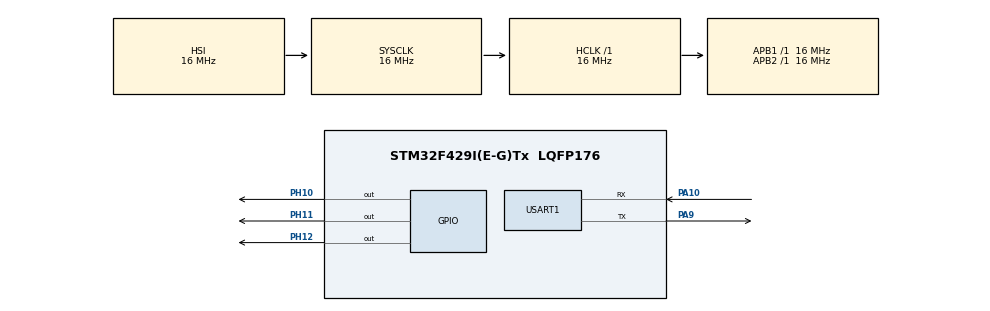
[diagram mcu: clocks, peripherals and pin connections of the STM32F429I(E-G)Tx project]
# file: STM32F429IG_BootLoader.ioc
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Mcu.Family=STM32F4
Mcu.Name=STM32F429I(E-G)Tx
Mcu.Package=LQFP176
NVIC.PriorityGroup=NVIC_PRIORITYGROUP_4
PA10.Mode=Asynchronous
PA10.Signal=USART1_RX
PA13.Mode=Serial_Wire
PA13.Signal=SYS_JTMS-SWDIO
PA14.Mode=Serial_Wire
PA14.Signal=SYS_JTCK-SWCLK
PA9.Mode=Asynchronous
PA9.Signal=USART1_TX
PH0/OSC_IN.Mode=HSE-External-Oscillator
PH0/OSC_IN.Signal=RCC_OSC_IN
PH1/OSC_OUT.Mode=HSE-External-Oscillator
PH1/OSC_OUT.Signal=RCC_OSC_OUT
PH10.Signal=GPIO_Output
PH11.Signal=GPIO_Output
PH12.Signal=GPIO_Output
ProjectManager.HeapSize=0x200
ProjectManager.StackSize=0x400
ProjectManager.TargetToolchain=Makefile
RCC.AHBFreq_Value=16000000
RCC.APB1Freq_Value=16000000
RCC.APB2Freq_Value=16000000
RCC.CortexFreq_Value=16000000
RCC.HSE_VALUE=25000000
RCC.HSI_VALUE=16000000
RCC.LSE_VALUE=32768
RCC.SYSCLKFreq_VALUE=16000000
RCC.VCOOutputFreq_Value=192000000
USART1.VirtualMode=VM_ASYNC
board=custom

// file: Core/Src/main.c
/* USER CODE BEGIN Header */
/**
  ******************************************************************************
  * @file           : main.c
  * @brief          : Main program body
  ******************************************************************************
  * @attention
  *
  * <h2><center>&copy; Copyright (c) 2021 STMicroelectronics.
  * All rights reserved.</center></h2>
  *
  * This software component is licensed by ST under BSD 3-Clause license,
  * the "License"; You may not use this file except in compliance with the
  * License. You may obtain a copy of the License at:
  *                        opensource.org/licenses/BSD-3-Clause
  *
  ******************************************************************************
  */
/* USER CODE END Header */
#include "main.h"
#include "usart.h"
#include "gpio.h"
#include "stdio.h"
#include "string.h"

/* USER CODE BEGIN PV */

#define BYTE2WORD(highByte, lowByte) ((highByte<<8) | lowByte)
#define BYTE2DWORD(highByte, mhighByte, mlowByte, lowByte) \
        (highByte << 24) | (mhighByte << 16) | (mlowByte << 8) | (lowByte)

#define APP_START_ADDR 0x08008000

/* USER CODE END PV */

void SystemClock_Config(void);

/* USER CODE BEGIN PFP */
#define UPDATE_CMD "you need update"
#define UPDATE_CONFIRM "Oh,really?"
#define UPDATE_CHECKOUT "Oh,yes"
#define UPDATE_FINAL_CONFIRM "OK,come on"
#define RX_BUFF_SZ 255

uint8_t * updata_protocol = {
  UPDATE_CMD,
  UPDATE_CONFIRM,
  UPDATE_CHECKOUT,
  UPDATE_FINAL_CONFIRM
};
#define PROTOCOL_ITEM_NUM 4
#define FRAME_HEAD 0xA5
#define FRAME_TAIL 0xAA
#define FRAME_HEAD_LEN 1
#define FRAME_TAIL_LEN 1
#define FRAME_TAIL_LEN 1
#define FRAME_TAIL_LEN 1
#define FRAME_DATA_LEN 1
#define FRAME_ID_0  0x00 //frame info
#define FRAME_ID_1  0x01 //kerenl ID
#define FRAME_ID_2 0x02 //total data len
#define FRAME_ID_3 0x03 //
#define FRAME_ID_LEN 0x01
/*
frame info:
  frame head | frame info | frame pure data len | data | frame tail
  0xa5       | FRAME_ID   |     0~0xff          |  xxx |    0xaa
first frame:
total data len | frame len

frist frame includes total data length
second frame includes pure data len in one frame
*/
/* USER CODE END PFP */

/* USER CODE BEGIN 0 */

HAL_StatusTypeDef flash_program(int startAddr, uint8_t * data, int dataSize);
HAL_StatusTypeDef flash_erase(int eraseStartAddr, int areaSize);
HAL_StatusTypeDef flash_lock();
HAL_StatusTypeDef flass_unlock();

HAL_StatusTypeDef flash_program(int startAddr, unsigned char* data, int dataSize)
{
  int start_addr = startAddr;
  int end_addr = start_addr + dataSize;
  int current_addr = start_addr;
  int i = 0;
  while (current_addr < end_addr){

    HAL_FLASH_Program(FLASH_TYPEPROGRAM_BYTE, current_addr, data[i]);
    current_addr++;
    i++;

  }

  return HAL_OK;

}
typedef struct{
  uint8_t frameHead;
  uint8_t frameID;
  uint8_t dataLen;
  uint8_t * dataHead;

} FRAME_INFO_ST, *FRAME_INFO_ST_P;

FRAME_INFO_ST frameInfo;

typedef enum UPDATE_STA{
  UPDATE_PRE,
  UPDATING,
  UPDATE_OK,
  UPDATE_FAIL
} E_UPDATE_STA;
enum FRAME_PARSE_RET{
  FRAME_OK,
  FRAME_TL,
  FRAME_KRNL,
  FRAME_DL_ERR,
  FRAME_HT_ERR,
  FRAME_OTHER_ERR

};
uint32_t totalDataLen;
uint8_t pureDataLen;
E_UPDATE_STA updateStatus;
static int frame_parse(uint8_t * buff, FRAME_INFO_ST_P frame_info)
{
  uint8_t * p = buff;
  uint8_t dataLen = p[2];
  if (dataLen < 0 || dataLen > 255)
  {
    /* code */
    return -1;
  }

  if (p[0] != FRAME_HEAD || p[dataLen] != FRAME_TAIL){
    return -2;
  }

  if (p[1] == FRAME_ID_0)
  {
    /* code */
    frame_info->frameID = FRAME_ID_0;
    frame_info->dataHead = &p[3];
    frame_info->dataLen = p[2];
    return FRAME_OK;
  }
  else if (p[1] == FRAME_ID_1)
  {
    /* code */
    frame_info->frameID = FRAME_ID_1;
    frame_info->dataHead = &p[3];
    frame_info->dataLen = p[2];
    return FRAME_KRNL;
  }
  else if (p[1] == FRAME_ID_2)
  {
    /* code */
    frame_info->frameID = FRAME_ID_2;
    frame_info->dataHead = &p[3];
    frame_info->dataLen = p[2];

    return FRAME_TL;
  }
  else
  {
    frame_info->frameID = 0xff;
    frame_info->dataHead = 0xff;
    frame_info->dataLen = 0xff;
    return FRAME_OTHER_ERR;
  }

}

#define SECTOR_0_FLASH_START_ADDR 0X08000000
#define SECTOR_1_FLASH_START_ADDR 0x08004000
#define SECTOR_2_FLASH_START_ADDR 0X08008000
#define SECTOR_3_FLASH_START_ADDR 0x0800C000
#define SECTOR_4_FLASH_START_ADDR 0X08010000
#define SECTOR_5_FLASH_START_ADDR 0x08020000
#define SECTOR_6_FLASH_START_ADDR 0X08040000
#define SECTOR_7_FLASH_START_ADDR 0x08060000
#define SECTOR_8_FLASH_START_ADDR 0X08080000
#define SECTOR_9_FLASH_START_ADDR 0x080A0000
#define SECTOR_10_FLASH_START_ADDR 0X080C0000
#define SECTOR_11_FLASH_START_ADDR 0x080E0000

static int start_sector(int eraseStartAddr)
{
  if (eraseStartAddr >= SECTOR_0_FLASH_START_ADDR && eraseStartAddr < SECTOR_1_FLASH_START_ADDR){
    return FLASH_SECTOR_0;
  }
  else if (eraseStartAddr >= SECTOR_1_FLASH_START_ADDR && eraseStartAddr < SECTOR_2_FLASH_START_ADDR) {
    return FLASH_SECTOR_1;
  }
  else if (eraseStartAddr >= SECTOR_2_FLASH_START_ADDR && eraseStartAddr < SECTOR_3_FLASH_START_ADDR) {
    return FLASH_SECTOR_2;
  }
  else if (eraseStartAddr >= SECTOR_3_FLASH_START_ADDR && eraseStartAddr < SECTOR_4_FLASH_START_ADDR) {
    return FLASH_SECTOR_3;
  }
  else if (eraseStartAddr >= SECTOR_4_FLASH_START_ADDR && eraseStartAddr < SECTOR_5_FLASH_START_ADDR) {
    return FLASH_SECTOR_4;
  }
  else if (eraseStartAddr >= SECTOR_5_FLASH_START_ADDR && eraseStartAddr < SECTOR_6_FLASH_START_ADDR) {
    return FLASH_SECTOR_5;
  }
  else if (eraseStartAddr >= SECTOR_6_FLASH_START_ADDR && eraseStartAddr < SECTOR_7_FLASH_START_ADDR) {
    return FLASH_SECTOR_6;
  }
  else if (eraseStartAddr >= SECTOR_7_FLASH_START_ADDR && eraseStartAddr < SECTOR_8_FLASH_START_ADDR) {
    return FLASH_SECTOR_7;
  }
  else if (eraseStartAddr >= SECTOR_8_FLASH_START_ADDR && eraseStartAddr < SECTOR_9_FLASH_START_ADDR) {
    return FLASH_SECTOR_8;
  }
  else if (eraseStartAddr >= SECTOR_9_FLASH_START_ADDR && eraseStartAddr < SECTOR_10_FLASH_START_ADDR) {
    return FLASH_SECTOR_9;
  }
  else if (eraseStartAddr >= SECTOR_10_FLASH_START_ADDR && eraseStartAddr < SECTOR_11_FLASH_START_ADDR) {
    return FLASH_SECTOR_10;
  }
  else if (eraseStartAddr >= SECTOR_11_FLASH_START_ADDR && eraseStartAddr < SECTOR_11_FLASH_START_ADDR+ 0x20000 ) {
    return FLASH_SECTOR_11;
  }
  else{
    return 0xff;//addr error
  }

}
static int end_sector(int eraseStartAddr, int areaSize)
{
  return start_sector(eraseStartAddr + areaSize-1);
}

HAL_StatusTypeDef flash_erase(int eraseStartAddr, int areaSize)
{
  uint32_t SectorError = 0;
  FLASH_EraseInitTypeDef EraseInit;
  EraseInit.TypeErase = FLASH_TYPEERASE_SECTORS;
  EraseInit.Sector = start_sector(eraseStartAddr);
  EraseInit.NbSectors = end_sector(eraseStartAddr, areaSize) - EraseInit.Sector + 1;
  EraseInit.VoltageRange = FLASH_VOLTAGE_RANGE_3;

  return HAL_FLASHEx_Erase(&EraseInit, &SectorError);

}

HAL_StatusTypeDef flash_lock()
{
  return HAL_FLASH_Lock();
}

HAL_StatusTypeDef flash_unlock()
{
  return HAL_FLASH_Unlock();
}

typedef void(* pFunc)(void);
pFunc jumpToKernel;

void jump_to_kernel(uint32_t app_addr)
{
  //
  jumpToKernel = *(uint32_t *)(app_addr + 4);
  jumpToKernel();

}

void err_handle(void){
  HAL_UART_Transmit(&huart1, (uint8_t *)"handshake fail", 14, 1000);
  //jump to kerl
  jump_to_kernel(APP_START_ADDR);
}
/* USER CODE END 0 */

int main(void)
{

  /* MCU Configuration--------------------------------------------------------*/

  /* Reset of all peripherals, Initializes the Flash interface and the Systick. */
  HAL_Init();

  /* Configure the system clock */
  SystemClock_Config();

  /* Initialize all configured peripherals */
  MX_GPIO_Init();
  MX_USART1_UART_Init();
  /* USER CODE BEGIN 2 */
  HAL_GPIO_WritePin(GPIOH, GPIO_PIN_11, GPIO_PIN_SET);
  HAL_GPIO_WritePin(GPIOH, GPIO_PIN_12, GPIO_PIN_SET);

  /* USER CODE END 2 */

  /* Infinite loop */
  /* USER CODE BEGIN WHILE */
  uint8_t * pData = NULL;
  #define BUFF_SZ (RX_BUFF_SZ + FRAME_HEAD_LEN + FRAME_ID_LEN + FRAME_DATA_LEN + FRAME_TAIL_LEN)
  while (1)
  {
    /* USER CODE END WHILE */

    /* USER CODE BEGIN 3 */
    uint8_t rx_buff[BUFF_SZ];
    u_int8_t frame_sz = 0;

    HAL_GPIO_TogglePin(GPIOH, GPIO_PIN_10);
    HAL_Delay(1000);
    HAL_UART_Transmit(&huart1, (uint8_t *)"hello world!", 12, 1000);

    //handshake
    for (int8_t i = 0; i < PROTOCOL_ITEM_NUM/2; i++)
    {
      /* code */
      HAL_UART_Receive(&huart1, rx_buff, 100, 5000);

      if(0 == memcmp(rx_buff, updata_protocol[2*i],strlen((const char*)updata_protocol[i])))
        HAL_UART_Transmit(&huart1, (uint8_t *)updata_protocol[2*i+1], strlen((const char*)updata_protocol[2*i+1]), 1000);
      else
        err_handle();
    }
    //get total data len
    memset(rx_buff, 0, BUFF_SZ);
    HAL_UART_Receive(&huart1, rx_buff, 20, 1000);
    if(FRAME_TL == frame_parse(rx_buff, &frameInfo))
    {
      pData = frameInfo.dataHead;
      totalDataLen = BYTE2DWORD(pData[0], pData[1], pData[2], pData[3]);

      updateStatus = UPDATE_PRE;
    }

    //get frame pure data len
    // memset(rx_buff, 0);
    // HAL_UART_Receive(&huart1, rx_buff, 20, 1000);
    // if (frame_sz > 0 && frame_sz <=256)
    // {
    //   /* code */
    //   HAL_UART_Transmit(&huart1, (uint8_t *)"copy that", 9, 1000);
    // }
    // else
    //   {
    //     HAL_UART_Transmit(&huart1, (uint8_t *)"frame size error", 16, 1000);
    //     goto ERR;
    //   }
    updateStatus = UPDATING;
    flash_unlock();
    //erase flash
    HAL_UART_Transmit(&huart1, (uint8_t *)"eraseing flash...", 17, 1000);
    flash_erase(APP_START_ADDR, totalDataLen);
    HAL_UART_Transmit(&huart1, (uint8_t *)"erase done", 10, 1000);

    //program flash after receive data
    uint32_t flash_program_addr = APP_START_ADDR;
    while (totalDataLen>0)
    {
      /* code */
      memset(rx_buff, 0, BUFF_SZ);
      HAL_UART_Receive(&huart1, rx_buff, BUFF_SZ, 5000);
      if(FRAME_KRNL ==  frame_parse(rx_buff, &frameInfo))
      {
        pData = frameInfo.dataHead;
        pureDataLen = frameInfo.dataLen;
        flash_program(flash_program_addr, pData, pureDataLen);
        flash_program_addr += pureDataLen;
        totalDataLen -= pureDataLen;
        HAL_UART_Transmit(&huart1, (uint8_t *)"next", 4, 1000);
      }

    }
    flash_lock();
    updateStatus = UPDATE_OK;
    HAL_UART_Transmit(&huart1, (uint8_t *)"program done", 12, 1000);
    //jump to kerl
    jump_to_kernel(APP_START_ADDR);

  }
  /* USER CODE END 3 */
}

void SystemClock_Config(void)
{
  RCC_OscInitTypeDef RCC_OscInitStruct = {0};
  RCC_ClkInitTypeDef RCC_ClkInitStruct = {0};

  /** Configure the main internal regulator output voltage
  */
  __HAL_RCC_PWR_CLK_ENABLE();
  __HAL_PWR_VOLTAGESCALING_CONFIG(PWR_REGULATOR_VOLTAGE_SCALE3);
  /** Initializes the RCC Oscillators according to the specified parameters
  * in the RCC_OscInitTypeDef structure.
  */
  RCC_OscInitStruct.OscillatorType = RCC_OSCILLATORTYPE_HSI;
  RCC_OscInitStruct.HSIState = RCC_HSI_ON;
  RCC_OscInitStruct.HSICalibrationValue = RCC_HSICALIBRATION_DEFAULT;
  RCC_OscInitStruct.PLL.PLLState = RCC_PLL_NONE;
  if (HAL_RCC_OscConfig(&RCC_OscInitStruct) != HAL_OK)
  {
    Error_Handler();
  }
  /** Initializes the CPU, AHB and APB buses clocks
  */
  RCC_ClkInitStruct.ClockType = RCC_CLOCKTYPE_HCLK|RCC_CLOCKTYPE_SYSCLK
                              |RCC_CLOCKTYPE_PCLK1|RCC_CLOCKTYPE_PCLK2;
  RCC_ClkInitStruct.SYSCLKSource = RCC_SYSCLKSOURCE_HSI;
  RCC_ClkInitStruct.AHBCLKDivider = RCC_SYSCLK_DIV1;
  RCC_ClkInitStruct.APB1CLKDivider = RCC_HCLK_DIV1;
  RCC_ClkInitStruct.APB2CLKDivider = RCC_HCLK_DIV1;

  if (HAL_RCC_ClockConfig(&RCC_ClkInitStruct, FLASH_LATENCY_0) != HAL_OK)
  {
    Error_Handler();
  }
}

void Error_Handler(void)
{
  __disable_irq();
  while (1)
  {
  }
}

/************************ (C) COPYRIGHT STMicroelectronics *****END OF FILE****/
